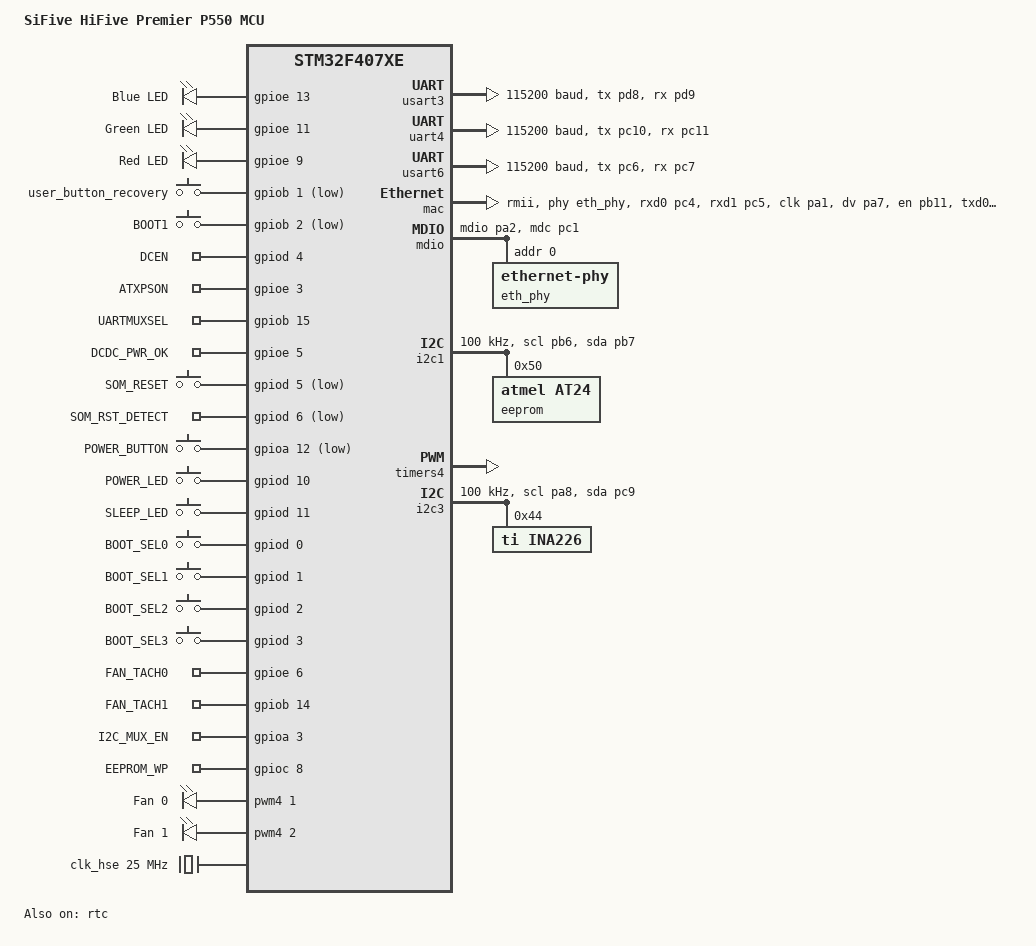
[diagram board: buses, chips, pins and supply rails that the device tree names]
/*
 * SPDX-FileCopyrightText: © 2025-2026 Tenstorrent USA, Inc.
 * SPDX-License-Identifier: Apache-2.0
 */

/dts-v1/;
#include <st/f4/stm32f407Xe.dtsi>
#include <st/f4/stm32f407v(e-g)tx-pinctrl.dtsi>
#include <zephyr/dt-bindings/input/input-event-codes.h>
#include <zephyr/dt-bindings/pwm/pwm.h>

/ {
	model = "SiFive HiFive Premier P550 MCU";
	compatible = "sifive,hifive-premier-p550-mcu";

	chosen {
		zephyr,console = &usart3;
		zephyr,shell-uart = &usart3;
		zephyr,sram = &sram0;
		zephyr,flash = &flash0;
		zephyr,ccm = &ccm0;
	};

	leds {
		compatible = "gpio-leds";

		blue_led: led0 {
			gpios = <&gpioe 13 GPIO_ACTIVE_HIGH>;
			label = "Blue LED";
		};

		green_led: led1 {
			gpios = <&gpioe 11 GPIO_ACTIVE_HIGH>;
			label = "Green LED";
		};

		red_led: led2 {
			gpios = <&gpioe 9 GPIO_ACTIVE_HIGH>;
			label = "Red LED";
		};
	};

	gpio_keys {
		compatible = "gpio-keys";

		user_button_recovery: K_REC {
			gpios = <&gpiob 1 GPIO_ACTIVE_LOW>;
		};

		boot1: boot1 {
			gpios = <&gpiob 2 GPIO_ACTIVE_LOW>;
			label = "BOOT1";
		};

		dcen: dcen {
			gpios = <&gpiod 4 GPIO_ACTIVE_HIGH>;
			label = "DCEN";
		};
		atxpson: atxpson {
			gpios = <&gpioe 3 GPIO_ACTIVE_HIGH>;
			label = "ATXPSON";
		};
		uartmuxsel: uartmuxsel {
			gpios = <&gpiob 15 GPIO_ACTIVE_HIGH>;
			label = "UARTMUXSEL";
		};
		pwrok: pwrok {
			gpios = <&gpioe 5 GPIO_ACTIVE_HIGH>;
			label = "DCDC_PWR_OK";
		};
		som_reset: som_reset {
			gpios = <&gpiod 5 GPIO_ACTIVE_LOW>;
			label = "SOM_RESET";
		};
		som_rst_detect: som_rst_detect {
			gpios = <&gpiod 6 GPIO_ACTIVE_LOW>;
			label = "SOM_RST_DETECT";
		};
		power_button: power_button {
			gpios = <&gpioa 12 GPIO_ACTIVE_LOW>;
			label = "POWER_BUTTON";
		};
		pwr_led: pwr_led_key {
			gpios = <&gpiod 10 GPIO_ACTIVE_HIGH>;
			label = "POWER_LED";
		};
		slp_led: slp_led_key {
			gpios = <&gpiod 11 GPIO_ACTIVE_HIGH>;
			label = "SLEEP_LED";
		};
		bootsel0: bootsel0 {
			gpios = <&gpiod 0 GPIO_ACTIVE_HIGH>;
			label = "BOOT_SEL0";
		};
		bootsel1: bootsel1 {
			gpios = <&gpiod 1 GPIO_ACTIVE_HIGH>;
			label = "BOOT_SEL1";
		};
		bootsel2: bootsel2 {
			gpios = <&gpiod 2 GPIO_ACTIVE_HIGH>;
			label = "BOOT_SEL2";
		};
		bootsel3: bootsel3 {
			gpios = <&gpiod 3 GPIO_ACTIVE_HIGH>;
			label = "BOOT_SEL3";
		};
		fan_tach0: fan_tach0 {
			gpios = <&gpioe 6 GPIO_ACTIVE_HIGH>;
			label = "FAN_TACH0";
		};
		fan_tach1: fan_tach1 {
			gpios = <&gpiob 14 GPIO_ACTIVE_HIGH>;
			label = "FAN_TACH1";
		};
		i2c_mux_en: i2c_mux_en {
			gpios = <&gpioa 3 GPIO_ACTIVE_HIGH>;
			label = "I2C_MUX_EN";
		};
		eeprom_wp: eeprom_wp {
			gpios = <&gpioc 8 GPIO_ACTIVE_HIGH>;
			label = "EEPROM_WP";
		};
	};


	fans {
		compatible = "pwm-leds";

		fan0: fan_0 {
			pwms = <&pwm4 1 40000 PWM_POLARITY_INVERTED>;
			label = "Fan 0";
		};

		fan1: fan_1 {
			pwms = <&pwm4 2 40000 PWM_POLARITY_INVERTED>;
			label = "Fan 1";
		};
	};

	aliases {
		led0 = &red_led;
		led1 = &green_led;
		led2 = &blue_led;
		sw0 = &user_button_recovery;
		boot1 = &boot1;
		dcen = &dcen;
		atxpson = &atxpson;
		reset-gpio-1 = &som_reset;
	};
};

&clk_lsi {
	status = "okay";
};

&clk_hse {
	clock-frequency = <DT_FREQ_M(25)>;
	status = "okay";
};

&pll {
	div-m = <25>;
	mul-n = <336>;
	div-p = <2>;
	div-q = <7>;
	clocks = <&clk_hse>;
	status = "okay";
};

&rcc {
	clocks = <&pll>;
	clock-frequency = <DT_FREQ_M(168)>;
	ahb-prescaler = <1>;
	apb1-prescaler = <4>;
	apb2-prescaler = <2>;
};

&usart3 {
	pinctrl-0 = <&usart3_tx_pd8 &usart3_rx_pd9>;
	pinctrl-names = "default";
	current-speed = <115200>;
	status = "okay";
};

&uart4 {
	pinctrl-0 = <&uart4_tx_pc10 &uart4_rx_pc11>;
	pinctrl-names = "default";
	current-speed = <115200>;
	status = "okay";
};

&usart6 {
	pinctrl-0 = <&usart6_tx_pc6 &usart6_rx_pc7>;
	pinctrl-names = "default";
	current-speed = <115200>;
	status = "okay";
	dmas = <&dma2 6 5 STM32_DMA_PERIPH_TX STM32_DMA_FIFO_FULL>,
	       <&dma2 1 5 STM32_DMA_PERIPH_RX STM32_DMA_FIFO_FULL>;
	dma-names = "tx", "rx";
	fifo-enable;
};

&dma2 {
	status = "okay";
};

&rtc {
	clocks = <&rcc STM32_CLOCK(APB1, 28)>,
		 <&rcc STM32_SRC_LSI RTC_SEL(2)>;
	status = "okay";
};

&mac {
	status = "okay";
	pinctrl-0 = <&eth_rxd0_pc4
		     &eth_rxd1_pc5
		     &eth_ref_clk_pa1
		     &eth_crs_dv_pa7
		     &eth_tx_en_pb11
		     &eth_txd0_pb12
		     &eth_txd1_pb13>;
	pinctrl-names = "default";
	phy-connection-type = "rmii";
	phy-handle = <&eth_phy>;
};

&mdio {
	status = "okay";
	pinctrl-0 = <&eth_mdio_pa2 &eth_mdc_pc1>;
	pinctrl-names = "default";

	eth_phy: ethernet-phy@0 {
		compatible = "ethernet-phy";
		reg = <0x00>;
	};
};

&i2c1 {
	pinctrl-0 = <&i2c1_scl_pb6 &i2c1_sda_pb7>;
	pinctrl-names = "default";
	status = "okay";
	clock-frequency = <I2C_BITRATE_STANDARD>;

	eeprom: eeprom@50 {
		compatible = "atmel,at24";
		reg = <0x50>;
		size = <256>;
		pagesize = <8>;
		address-width = <8>;
		timeout = <5>;
		zephyr,deferred-init;
	};
};

&timers4 {
	status = "okay";
	pwm4: pwm {
		status = "okay";
		pinctrl-0 = <&tim4_ch1_pd12 &tim4_ch2_pd13>;
		pinctrl-names = "default";
	};
};

&i2c3 {
	pinctrl-0 = <&i2c3_scl_pa8 &i2c3_sda_pc9>;
	pinctrl-names = "default";
	status = "okay";
	clock-frequency = <I2C_BITRATE_STANDARD>;

	ina226: ina226@44 {
		compatible = "ti,ina226";
		reg = <0x44>;
		rshunt-micro-ohms = <1000>;
		current-lsb-microamps = <1000>;
		zephyr,deferred-init;
	};
};
